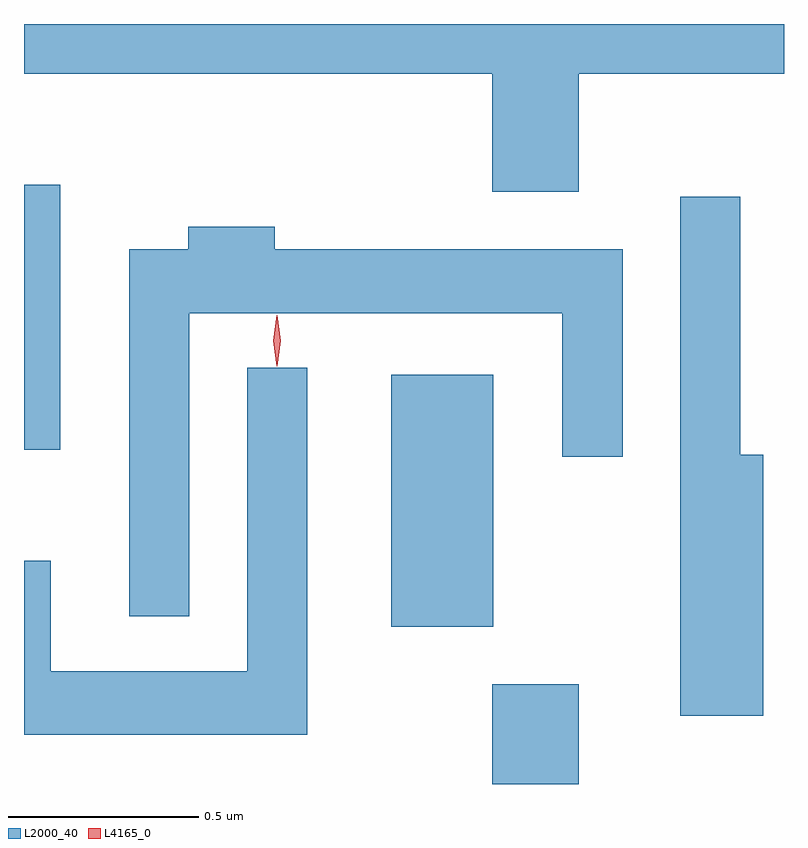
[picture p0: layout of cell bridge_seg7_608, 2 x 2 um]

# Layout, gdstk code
import gdstk
lib = gdstk.Library(unit=1e-6, precision=1e-09)
def R(c, l, rs):  # rectangles x0, y0, x1, y1
    for r in rs: c.add(gdstk.rectangle(r[:2], r[2:], *l))
def P(c, l, *ps):  # polygons
    for p in ps: c.add(gdstk.Polygon(p, *l))
L2000_40 = (2000, 40)
L4165_0 = (4165, 0)

bridge_seg7_608 = lib.new_cell('bridge_seg7_608')
R(bridge_seg7_608, L2000_40, [(628.071,1754.627,628.299,1754.889), (627.806,1755.041,628.074,1755.704), (626.839,1755.506,626.934,1756.204)])
P(bridge_seg7_608, L2000_40, [(628.299,1756.496),(628.839,1756.496),(628.839,1756.627),(626.839,1756.627),(626.839,1756.496),(628.071,1756.496),(628.071,1756.186),(628.299,1756.186)],
  [(628.784,1755.494),(628.724,1755.494),(628.724,1756.173),(628.566,1756.173),(628.566,1754.806),(628.784,1754.806)],
  [(627.274,1755.866),(628.256,1755.866),(628.256,1755.488),(628.414,1755.488),(628.414,1756.034),(627.499,1756.034),(627.499,1756.094),(627.271,1756.094),(627.271,1756.034),(627.116,1756.034),(627.116,1755.068),(627.274,1755.068)],
  [(627.584,1755.723),(627.426,1755.723),(627.426,1754.924),(626.909,1754.924),(626.909,1755.214),(626.839,1755.214),(626.839,1754.756),(627.584,1754.756)])
P(bridge_seg7_608, L4165_0, [(627.504,1755.727),(627.495,1755.794),(627.504,1755.86),(627.505,1755.861),(627.505,1755.86),(627.515,1755.794),(627.505,1755.727),(627.505,1755.727)])

lib.write_gds('bridge_seg7_608.gds')
